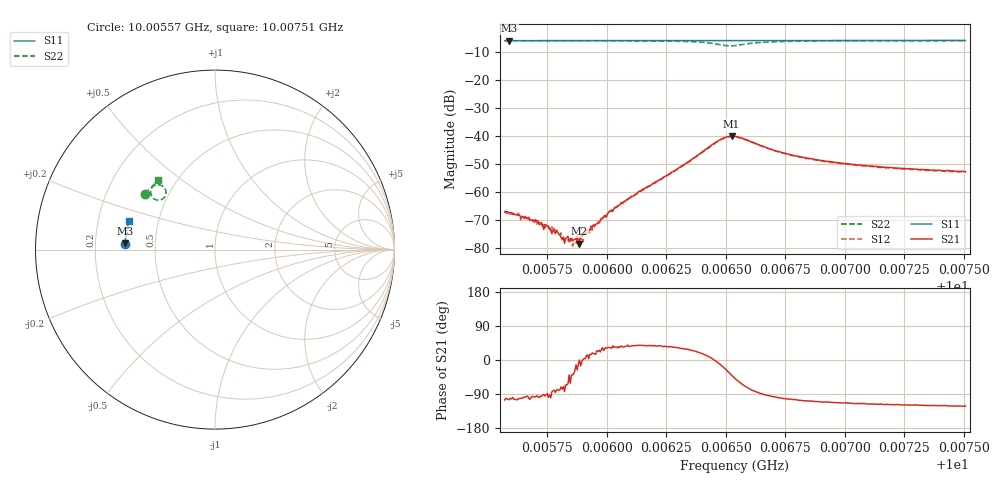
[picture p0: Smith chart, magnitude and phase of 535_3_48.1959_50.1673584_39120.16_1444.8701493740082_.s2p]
#  HZ  S  RI  R  50.00
! Rohde & Schwarz Vector Network Analyzer
! Rohde-Schwarz,ZNB20-2Port,1311601062101988,3.16
! Created: UTC 3/20/2024, 12:00:03 PM
! freq[Hz]  re:S11  im:S11  re:S21  im:S21  re:S12  im:S12  re:S22  im:S22
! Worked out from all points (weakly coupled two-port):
!   401 points, 10.00557 GHz to 10.00751 GHz, reference 50 ohm
!   highest |S21| = -40.06 dB at 10.00652 GHz (marker M1); lowest = -78.5 dB at 10.00589 GHz (marker M2)
!   lowest |S11| = -6.0 dB at 10.00559 GHz (marker M3), VSWR 3.01, Z = 16.6 + j1.55 ohm
!   |S11| at or under -10 dB: nowhere
!   |S22| runs from -7.8 to -6.0 dB; largest |S21 - S12| = 0.00065
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1.0005571e10  -0.5003 0.0338  -0.000118 -0.000422  -8.9e-05 -0.000417  -0.3877 0.3105
1.0005591e10  -0.5 0.035  -0.000108 -0.000413  -7.73e-05 -0.000378  -0.3869 0.3116
1.0005654e10  -0.5 0.0391  -5.15e-05 -0.000334  -3.91e-05 -0.000351  -0.3841 0.3154
1.000575e10  -0.4994 0.0454  6.73e-06 -0.000243  -1.97e-05 -0.000242  -0.3792 0.3213
1.0005779e10  -0.4997 0.0473  3.67e-05 -0.000201  1.93e-05 -0.000222  -0.3778 0.3231
1.0005799e10  -0.4994 0.0485  3.1e-05 -0.000175  7.48e-05 -0.000166  -0.3769 0.3243
1.0005818e10  -0.4993 0.0499  5.36e-05 -0.000148  7.39e-05 -0.00012  -0.376 0.3255
1.0005862e10  -0.4991 0.0528  0.000113 -8.28e-05  0.000109 -6.24e-05  -0.3735 0.3282
1.0005886e10  -0.499 0.0543  0.000119 -2.11e-07  0.000144 -5.44e-05  -0.3722 0.3297
1.0005891e10  -0.499 0.0546  0.000151 -4.32e-05  0.000131 3.4e-05  -0.3721 0.33
1.0005895e10  -0.4989 0.0549  0.000173 -1.09e-05  0.000165 -1.76e-05  -0.3717 0.3303
1.0005905e10  -0.499 0.0554  0.000188 1.22e-05  0.000176 2.58e-05  -0.371 0.331
1.0005958e10  -0.4986 0.059  0.000247 0.000109  0.000244 0.000145  -0.368 0.3344
1.0006021e10  -0.4983 0.0631  0.000415 0.000249  0.000375 0.000256  -0.3636 0.3388
1.0006219e10  -0.4968 0.0759  0.00132 0.000991  0.00123 0.00104  -0.3453 0.3531
1.0006466e10  -0.4938 0.0916  0.00808 -0.000937  0.0079 -0.000444  -0.2753 0.3318
1.0006524e10  -0.4931 0.0947  0.00759 -0.0064  0.00779 -0.00579  -0.2891 0.2844
1.0006539e10  -0.493 0.0956  0.00648 -0.00736  0.00678 -0.00688  -0.3009 0.2777
1.0006708e10  -0.4919 0.1065  -0.000705 -0.0054  -0.000443 -0.00539  -0.3582 0.3199
1.0006863e10  -0.4901 0.1163  -0.00122 -0.00368  -0.00105 -0.00367  -0.352 0.345
1.0007187e10  -0.4857 0.137  -0.00126 -0.00245  -0.00111 -0.00243  -0.3341 0.3712
1.0007506e10  -0.4804 0.1568  -0.00121 -0.00198  -0.0011 -0.002  -0.3172 0.3887
